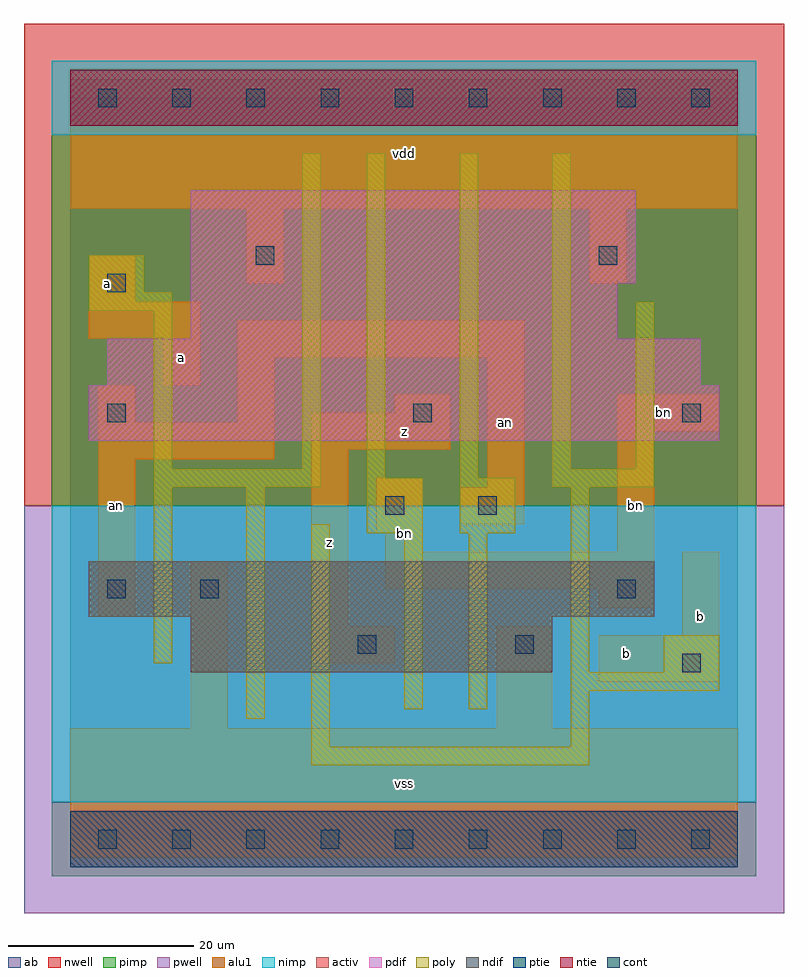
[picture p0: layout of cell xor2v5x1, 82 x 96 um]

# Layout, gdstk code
import gdstk
lib = gdstk.Library(unit=1e-6, precision=1e-09)
def R(c, l, rs):  # rectangles x0, y0, x1, y1
    for r in rs: c.add(gdstk.rectangle(r[:2], r[2:], *l))
def A(c, l, x, y, w, h, nx, ny, dx, dy):  # array of equal rectangles
    R(c, l, [(x+i*dx, y+j*dy, x+i*dx+w, y+j*dy+h) for i in range(nx) for j in range(ny)])
ndif = (3, 0)
pdif = (4, 0)
ntie = (5, 0)
ptie = (6, 0)
cont = (25, 0)
pwell = (41, 0)
nwell = (42, 0)
activ = (43, 0)
pimp = (44, 0)
nimp = (45, 0)
poly = (46, 0)
alu1 = (49, 0)
ab = (63, 0)

xor2v5x1 = lib.new_cell('xor2v5x1')
R(xor2v5x1, ndif, [(13,18,52,24), (2,24,63,30)])
R(xor2v5x1, pdif, [(2,43,70,49), (4,49,68,54), (13,54,59,60), (13,60,61,70)])
R(xor2v5x1, ntie, [(0,77,72,83)])
R(xor2v5x1, ptie, [(0,-3,72,3)])
A(xor2v5x1, cont, 3, -1, 2, 2, 9, 2, 8, 80)
R(xor2v5x1, cont, [(66,18,68,20), (31,20,33,22), (48,20,50,22), (4,26,6,28), (14,26,16,28), (59,26,61,28), (34,35,36,37), (44,35,46,37), (4,45,6,47), (37,45,39,47), (66,45,68,47), (4,59,6,61), (20,62,22,64), (57,62,59,64)])
R(xor2v5x1, pwell, [(-5,-8,77,36)])
R(xor2v5x1, nwell, [(-5,36,77,88)])
R(xor2v5x1, activ, [(0,-3,72,3), (13,18,52,24), (2,24,63,30), (2,43,70,49), (4,49,68,54), (13,54,59,60), (13,60,61,70), (0,77,72,83)])
R(xor2v5x1, pimp, [(-2,-4,74,4), (-2,36,74,76)])
R(xor2v5x1, nimp, [(-2,4,74,36), (-2,76,74,84)])
R(xor2v5x1, poly, [(26,8,56,10), (26,10,28,34), (54,10,56,16), (19,13,21,38), (36,14,38,33), (43,14,45,33), (54,16,70,18), (54,18,56,38), (64,18,70,22), (9,19,11,38), (32,33,38,39), (42,33,48,39), (9,38,27,40), (52,38,63,40), (32,39,34,74), (42,39,44,74), (9,40,11,57), (25,40,27,74), (52,40,54,74), (61,40,63,58), (2,57,11,59), (2,59,8,63)])
R(xor2v5x1, alu1, [(0,-2,72,12), (13,12,17,30), (46,12,52,23), (57,17,70,22), (26,19,35,23), (66,22,70,31), (26,23,30,42), (3,24,7,41), (57,25,63,27), (34,27,63,31), (34,31,38,33), (59,31,63,44), (33,33,38,39), (42,34,49,38), (45,38,49,52), (3,41,22,45), (26,42,41,46), (59,44,70,48), (3,45,7,49), (18,45,22,52), (35,46,41,48), (10,49,14,54), (18,52,49,56), (2,54,14,58), (2,58,7,63), (19,60,23,68), (56,60,60,68), (0,68,72,82)])
R(xor2v5x1, ab, [(0,0,72,80)])
xor2v5x1.add(gdstk.Label('an', (5,36), layer=49, texttype=0))
xor2v5x1.add(gdstk.Label('bn', (36,33), layer=49, texttype=0))
xor2v5x1.add(gdstk.Label('an', (47,45), layer=49, texttype=0))
xor2v5x1.add(gdstk.Label('bn', (61,36), layer=49, texttype=0))
xor2v5x1.add(gdstk.Label('bn', (64,46), layer=49, texttype=0))
xor2v5x1.add(gdstk.Label('a', (12,52), layer=49, texttype=0))
xor2v5x1.add(gdstk.Label('a', (4,60), layer=49, texttype=0))
xor2v5x1.add(gdstk.Label('z', (28,32), layer=49, texttype=0))
xor2v5x1.add(gdstk.Label('vss', (36,6), layer=49, texttype=0))
xor2v5x1.add(gdstk.Label('z', (36,44), layer=49, texttype=0))
xor2v5x1.add(gdstk.Label('vdd', (36,74), layer=49, texttype=0))
xor2v5x1.add(gdstk.Label('b', (60,20), layer=49, texttype=0))
xor2v5x1.add(gdstk.Label('b', (68,24), layer=49, texttype=0))

lib.write_gds('xor2v5x1.gds')
